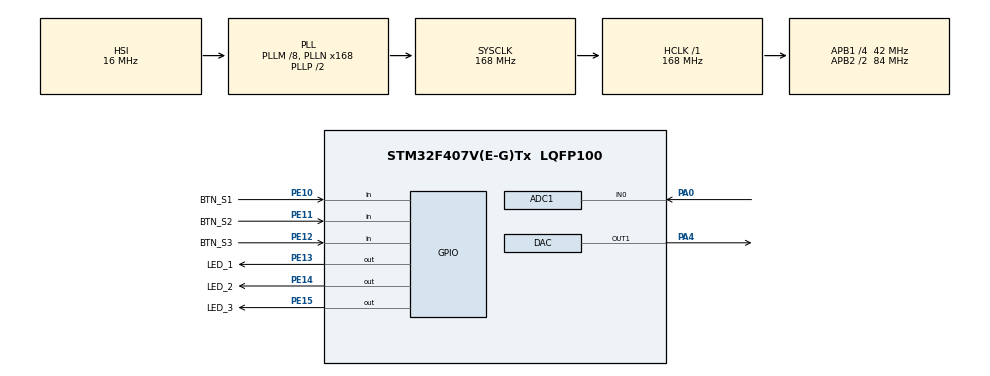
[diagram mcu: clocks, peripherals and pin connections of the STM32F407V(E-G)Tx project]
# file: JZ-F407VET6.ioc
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ADC1.Channel-0\#ChannelRegularConversion=ADC_CHANNEL_0
ADC1.NbrOfConversionFlag=1
ADC1.Rank-0\#ChannelRegularConversion=1
ADC1.SamplingTime-0\#ChannelRegularConversion=ADC_SAMPLETIME_3CYCLES
ADC1.master=1
DAC.DAC_Trigger=DAC_TRIGGER_T6_TRGO
DAC.WaveGeneration=DISABLE
Mcu.Family=STM32F4
Mcu.Name=STM32F407V(E-G)Tx
Mcu.Package=LQFP100
NVIC.PriorityGroup=NVIC_PRIORITYGROUP_4
NVIC.TIM6_DAC_IRQn=true\:0\:0\:false\:false\:true\:true\:true\:true
PA0-WKUP.Signal=ADCx_IN0
PA13.Mode=JTAG_4_pins
PA13.Signal=SYS_JTMS-SWDIO
PA14.Mode=JTAG_4_pins
PA14.Signal=SYS_JTCK-SWCLK
PA15.Mode=JTAG_4_pins
PA15.Signal=SYS_JTDI
PA4.Signal=COMP_DAC1_group
PB3.Mode=JTAG_4_pins
PB3.Signal=SYS_JTDO-SWO
PE10.GPIO_Label=BTN_S1
PE10.Signal=GPIO_Input
PE11.GPIO_Label=BTN_S2
PE11.Signal=GPIO_Input
PE12.GPIO_Label=BTN_S3
PE12.Signal=GPIO_Input
PE13.GPIO_Label=LED_1
PE13.Signal=GPIO_Output
PE14.GPIO_Label=LED_2
PE14.Signal=GPIO_Output
PE15.GPIO_Label=LED_3
PE15.Signal=GPIO_Output
PH0-OSC_IN.Mode=HSE-External-Oscillator
PH0-OSC_IN.Signal=RCC_OSC_IN
PH1-OSC_OUT.Mode=HSE-External-Oscillator
PH1-OSC_OUT.Signal=RCC_OSC_OUT
ProjectManager.HeapSize=0x200
ProjectManager.StackSize=0x400
ProjectManager.TargetToolchain=MDK-ARM V5.32
RCC.48MHZClocksFreq_Value=84000000
RCC.AHBFreq_Value=168000000
RCC.APB1CLKDivider=RCC_HCLK_DIV4
RCC.APB1Freq_Value=42000000
RCC.APB1TimFreq_Value=84000000
RCC.APB2CLKDivider=RCC_HCLK_DIV2
RCC.APB2Freq_Value=84000000
RCC.APB2TimFreq_Value=168000000
RCC.CortexFreq_Value=168000000
RCC.HCLKFreq_Value=168000000
RCC.HSE_VALUE=25000000
RCC.HSI_VALUE=16000000
RCC.LSE_VALUE=32768
RCC.PLLM=8
RCC.PLLN=168
RCC.SYSCLKFreq_VALUE=168000000
RCC.SYSCLKSource=RCC_SYSCLKSOURCE_PLLCLK
RCC.VCOOutputFreq_Value=336000000
SH.ADCx_IN0.0=ADC1_IN0,IN0
SH.COMP_DAC1_group.0=DAC_OUT1,DAC_OUT1
TIM6.TIM_MasterOutputTrigger=TIM_TRGO_UPDATE
VP_TIM6_VS_ClockSourceINT.Mode=Enable_Timer
board=custom

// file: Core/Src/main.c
/* USER CODE BEGIN Header */
/**
  ******************************************************************************
  * @file           : main.c
  * @brief          : Main program body
  ******************************************************************************
  * @attention
  *
  * Copyright (c) 2026 STMicroelectronics.
  * All rights reserved.
  *
  * This software is licensed under terms that can be found in the LICENSE file
  * in the root directory of this software component.
  * If no LICENSE file comes with this software, it is provided AS-IS.
  *
  ******************************************************************************
  */
/* USER CODE END Header */
#include "main.h"

/* USER CODE BEGIN PD */
#define TIM_PERIOD    (uint16_t)((64*10)-1)
/* USER CODE END PD */

ADC_HandleTypeDef hadc1;

DAC_HandleTypeDef hdac;

TIM_HandleTypeDef htim6;

void SystemClock_Config(void);
static void MX_GPIO_Init(void);
static void MX_ADC1_Init(void);
static void MX_DAC_Init(void);
static void MX_TIM6_Init(void);

/* USER CODE BEGIN 0 */
// ----------------------------------------------------------------------------
void DAC_SetValueCb(uint16_t val)
{
  hdac.Instance->DHR12R1 = val;
//  HAL_DAC_SetValue(&hdac, DAC_CHANNEL_1, DAC_ALIGN_12B_R, val);
}
// ----------------------------------------------------------------------------
/* USER CODE END 0 */

int main(void)
{

  /* MCU Configuration--------------------------------------------------------*/

  /* Reset of all peripherals, Initializes the Flash interface and the Systick. */
  HAL_Init();

  /* Configure the system clock */
  SystemClock_Config();

  /* Initialize all configured peripherals */
  MX_GPIO_Init();
  MX_ADC1_Init();
  MX_DAC_Init();
  MX_TIM6_Init();
  /* USER CODE BEGIN 2 */
  dds_init_t dds_init;

  dds_init.Fapb1     = 84000000; // частота тактирования таймера
  dds_init.Prescaler = 0;        // делитель частоты таймера
  dds_init.Period    = TIM_PERIOD;       // Auto reload register ARR
  dds_init.freq      = 1;
  dds_init.dac_set_value_cb = DAC_SetValueCb;

  DDS_Init(&dds_init);
  HAL_ADC_Start(&hadc1);
  HAL_DAC_Start(&hdac, DAC_CHANNEL_1);
//  HAL_TIM_Base_Start(&htim6);
  HAL_TIM_Base_Start_IT(&htim6);
//  HAL_DAC_Start_DMA(&hdac, DAC_CHANNEL_1, (uint32_t*)buf_tr, BUF_SIZE, DAC_ALIGN_12B_R);
  /* USER CODE END 2 */

  /* Infinite loop */
  /* USER CODE BEGIN WHILE */
  uint32_t ticks = HAL_GetTick();
  while (1)
  {
    if( (HAL_GetTick() - ticks) < 500 )
      continue;
    ticks = HAL_GetTick();
    HAL_GPIO_TogglePin(LED_3_GPIO_Port, LED_3_Pin);
    /* USER CODE END WHILE */

  }
}

void SystemClock_Config(void)
{
  RCC_OscInitTypeDef RCC_OscInitStruct = {0};
  RCC_ClkInitTypeDef RCC_ClkInitStruct = {0};

  /** Configure the main internal regulator output voltage
  */
  __HAL_RCC_PWR_CLK_ENABLE();
  __HAL_PWR_VOLTAGESCALING_CONFIG(PWR_REGULATOR_VOLTAGE_SCALE1);

  /** Initializes the RCC Oscillators according to the specified parameters
  * in the RCC_OscInitTypeDef structure.
  */
  RCC_OscInitStruct.OscillatorType = RCC_OSCILLATORTYPE_HSI;
  RCC_OscInitStruct.HSIState = RCC_HSI_ON;
  RCC_OscInitStruct.HSICalibrationValue = RCC_HSICALIBRATION_DEFAULT;
  RCC_OscInitStruct.PLL.PLLState = RCC_PLL_ON;
  RCC_OscInitStruct.PLL.PLLSource = RCC_PLLSOURCE_HSI;
  RCC_OscInitStruct.PLL.PLLM = 8;
  RCC_OscInitStruct.PLL.PLLN = 168;
  RCC_OscInitStruct.PLL.PLLP = RCC_PLLP_DIV2;
  RCC_OscInitStruct.PLL.PLLQ = 4;
  if (HAL_RCC_OscConfig(&RCC_OscInitStruct) != HAL_OK)
  {
    Error_Handler();
  }

  /** Initializes the CPU, AHB and APB buses clocks
  */
  RCC_ClkInitStruct.ClockType = RCC_CLOCKTYPE_HCLK|RCC_CLOCKTYPE_SYSCLK
                              |RCC_CLOCKTYPE_PCLK1|RCC_CLOCKTYPE_PCLK2;
  RCC_ClkInitStruct.SYSCLKSource = RCC_SYSCLKSOURCE_PLLCLK;
  RCC_ClkInitStruct.AHBCLKDivider = RCC_SYSCLK_DIV1;
  RCC_ClkInitStruct.APB1CLKDivider = RCC_HCLK_DIV4;
  RCC_ClkInitStruct.APB2CLKDivider = RCC_HCLK_DIV2;

  if (HAL_RCC_ClockConfig(&RCC_ClkInitStruct, FLASH_LATENCY_5) != HAL_OK)
  {
    Error_Handler();
  }
}

static void MX_ADC1_Init(void)
{

  ADC_ChannelConfTypeDef sConfig = {0};

  /** Configure the global features of the ADC (Clock, Resolution, Data Alignment and number of conversion)
  */
  hadc1.Instance = ADC1;
  hadc1.Init.ClockPrescaler = ADC_CLOCK_SYNC_PCLK_DIV4;
  hadc1.Init.Resolution = ADC_RESOLUTION_12B;
  hadc1.Init.ScanConvMode = DISABLE;
  hadc1.Init.ContinuousConvMode = DISABLE;
  hadc1.Init.DiscontinuousConvMode = DISABLE;
  hadc1.Init.ExternalTrigConvEdge = ADC_EXTERNALTRIGCONVEDGE_NONE;
  hadc1.Init.ExternalTrigConv = ADC_SOFTWARE_START;
  hadc1.Init.DataAlign = ADC_DATAALIGN_RIGHT;
  hadc1.Init.NbrOfConversion = 1;
  hadc1.Init.DMAContinuousRequests = DISABLE;
  hadc1.Init.EOCSelection = ADC_EOC_SINGLE_CONV;
  if (HAL_ADC_Init(&hadc1) != HAL_OK)
  {
    Error_Handler();
  }

  /** Configure for the selected ADC regular channel its corresponding rank in the sequencer and its sample time.
  */
  sConfig.Channel = ADC_CHANNEL_0;
  sConfig.Rank = 1;
  sConfig.SamplingTime = ADC_SAMPLETIME_3CYCLES;
  if (HAL_ADC_ConfigChannel(&hadc1, &sConfig) != HAL_OK)
  {
    Error_Handler();
  }

}

static void MX_DAC_Init(void)
{

  DAC_ChannelConfTypeDef sConfig = {0};

  /** DAC Initialization
  */
  hdac.Instance = DAC;
  if (HAL_DAC_Init(&hdac) != HAL_OK)
  {
    Error_Handler();
  }

  /** DAC channel OUT1 config
  */
  sConfig.DAC_Trigger = DAC_TRIGGER_T6_TRGO;
  sConfig.DAC_OutputBuffer = DAC_OUTPUTBUFFER_ENABLE;
  if (HAL_DAC_ConfigChannel(&hdac, &sConfig, DAC_CHANNEL_1) != HAL_OK)
  {
    Error_Handler();
  }

}

static void MX_TIM6_Init(void)
{

  TIM_MasterConfigTypeDef sMasterConfig = {0};

  htim6.Instance = TIM6;
  htim6.Init.Prescaler = 0;
  htim6.Init.CounterMode = TIM_COUNTERMODE_UP;
  htim6.Init.Period = TIM_PERIOD;
  htim6.Init.AutoReloadPreload = TIM_AUTORELOAD_PRELOAD_DISABLE;
  if (HAL_TIM_Base_Init(&htim6) != HAL_OK)
  {
    Error_Handler();
  }
  sMasterConfig.MasterOutputTrigger = TIM_TRGO_UPDATE;
  sMasterConfig.MasterSlaveMode = TIM_MASTERSLAVEMODE_DISABLE;
  if (HAL_TIMEx_MasterConfigSynchronization(&htim6, &sMasterConfig) != HAL_OK)
  {
    Error_Handler();
  }

}

static void MX_GPIO_Init(void)
{
  GPIO_InitTypeDef GPIO_InitStruct = {0};

  /* GPIO Ports Clock Enable */
  __HAL_RCC_GPIOH_CLK_ENABLE();
  __HAL_RCC_GPIOA_CLK_ENABLE();
  __HAL_RCC_GPIOE_CLK_ENABLE();
  __HAL_RCC_GPIOB_CLK_ENABLE();

  /*Configure GPIO pin Output Level */
  HAL_GPIO_WritePin(GPIOE, LED_1_Pin|LED_2_Pin|LED_3_Pin, GPIO_PIN_RESET);

  /*Configure GPIO pins : BTN_S1_Pin BTN_S2_Pin BTN_S3_Pin */
  GPIO_InitStruct.Pin = BTN_S1_Pin|BTN_S2_Pin|BTN_S3_Pin;
  GPIO_InitStruct.Mode = GPIO_MODE_INPUT;
  GPIO_InitStruct.Pull = GPIO_NOPULL;
  HAL_GPIO_Init(GPIOE, &GPIO_InitStruct);

  /*Configure GPIO pins : LED_1_Pin LED_2_Pin LED_3_Pin */
  GPIO_InitStruct.Pin = LED_1_Pin|LED_2_Pin|LED_3_Pin;
  GPIO_InitStruct.Mode = GPIO_MODE_OUTPUT_PP;
  GPIO_InitStruct.Pull = GPIO_NOPULL;
  GPIO_InitStruct.Speed = GPIO_SPEED_FREQ_LOW;
  HAL_GPIO_Init(GPIOE, &GPIO_InitStruct);

}

void Error_Handler(void)
{
  __disable_irq();
  while (1)
  {
  }
}
